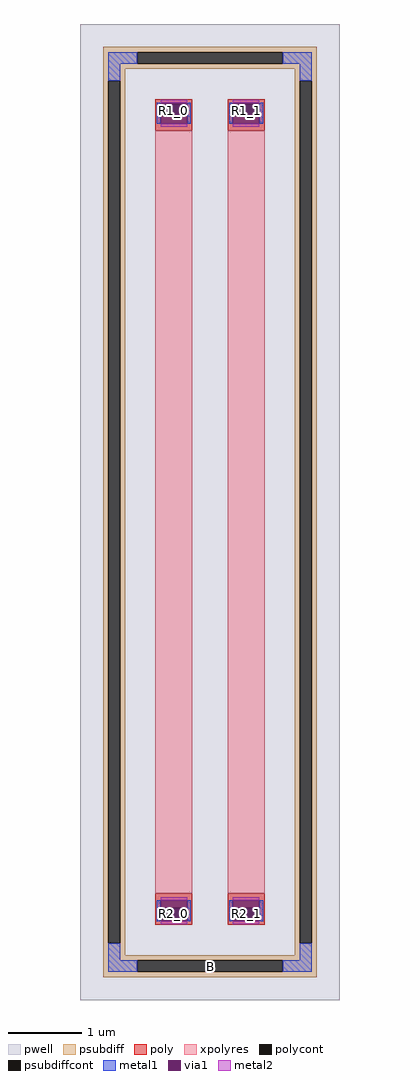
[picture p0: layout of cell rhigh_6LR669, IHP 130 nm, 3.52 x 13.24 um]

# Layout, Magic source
magic
tech ihp-sg13g2
magscale 1 2
<< pwell >>
rect -352 -1324 352 1324
<< psubdiff >>
rect -290 1248 290 1262
rect -290 1216 -198 1248
rect 198 1216 290 1248
rect -290 1202 290 1216
rect -290 1170 -230 1202
rect -290 -1170 -276 1170
rect -244 -1170 -230 1170
rect 230 1170 290 1202
rect -290 -1202 -230 -1170
rect 230 -1170 244 1170
rect 276 -1170 290 1170
rect 230 -1202 290 -1170
rect -290 -1216 290 -1202
rect -290 -1248 -198 -1216
rect 198 -1248 290 -1216
rect -290 -1262 290 -1248
<< psubdiffcont >>
rect -198 1216 198 1248
rect -276 -1170 -244 1170
rect 244 -1170 276 1170
rect -198 -1248 198 -1216
<< poly >>
rect -148 1106 -48 1120
rect -148 1074 -134 1106
rect -62 1074 -48 1106
rect -148 1034 -48 1074
rect -148 -1074 -48 -1034
rect -148 -1106 -134 -1074
rect -62 -1106 -48 -1074
rect -148 -1120 -48 -1106
rect 48 1106 148 1120
rect 48 1074 62 1106
rect 134 1074 148 1106
rect 48 1034 148 1074
rect 48 -1074 148 -1034
rect 48 -1106 62 -1074
rect 134 -1106 148 -1074
rect 48 -1120 148 -1106
<< polycont >>
rect -134 1074 -62 1106
rect -134 -1106 -62 -1074
rect 62 1074 134 1106
rect 62 -1106 134 -1074
<< xpolyres >>
rect -148 -1034 -48 1034
rect 48 -1034 148 1034
<< metal1 >>
rect -276 1216 -198 1248
rect 198 1216 276 1248
rect -276 1170 -244 1216
rect 244 1170 276 1216
rect -144 1110 -52 1111
rect -144 1054 -134 1110
rect -62 1054 -52 1110
rect -144 1053 -52 1054
rect 52 1110 144 1111
rect 52 1054 62 1110
rect 134 1054 144 1110
rect 52 1053 144 1054
rect -144 -1054 -52 -1053
rect -144 -1110 -134 -1054
rect -62 -1110 -52 -1054
rect -144 -1111 -52 -1110
rect 52 -1054 144 -1053
rect 52 -1110 62 -1054
rect 134 -1110 144 -1054
rect 52 -1111 144 -1110
rect -276 -1216 -244 -1170
rect 244 -1216 276 -1170
rect -276 -1248 -198 -1216
rect 198 -1248 276 -1216
<< via1 >>
rect -134 1106 -62 1110
rect -134 1074 -62 1106
rect -134 1054 -62 1074
rect 62 1106 134 1110
rect 62 1074 134 1106
rect 62 1054 134 1074
rect -134 -1074 -62 -1054
rect -134 -1106 -62 -1074
rect -134 -1110 -62 -1106
rect 62 -1074 134 -1054
rect 62 -1106 134 -1074
rect 62 -1110 134 -1106
<< metal2 >>
rect -134 1110 -62 1119
rect -134 1045 -62 1054
rect 62 1110 134 1119
rect 62 1045 134 1054
rect -134 -1054 -62 -1045
rect -134 -1119 -62 -1110
rect 62 -1054 134 -1045
rect 62 -1119 134 -1110
<< labels >>
rlabel psubdiffcont 0 -1232 0 -1232 0 B
port 1 nsew
rlabel polycont -98 1090 -98 1090 0 R1_0
port 2 nsew
rlabel polycont -98 -1090 -98 -1090 0 R2_0
port 3 nsew
rlabel polycont 98 1090 98 1090 0 R1_1
port 4 nsew
rlabel polycont 98 -1090 98 -1090 0 R2_1
port 5 nsew
<< properties >>
string FIXED_BBOX -260 -1232 260 1232
string gencell rhigh
string library sg13g2
string parameters w 0.50 l 10.3385 m 1 nx 2 wmin 0.50 lmin 0.50 class resistor rho 1360 val 28.122k dummy 0 dw 0.0 term 0.0 sterm 0.0 caplen 0 guard 1 glc 1 grc 1 gtc 1 gbc 1 snake 0 full_metal 1 n_guard 0 hv_guard 0 vias 1 viagb 0 viagt 0 viagl 0 viagr 0 doports 1
<< end >>
